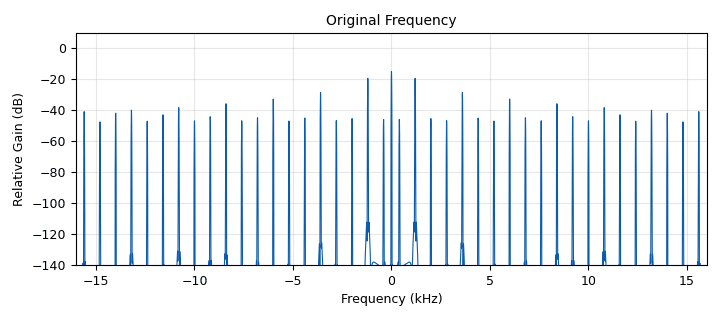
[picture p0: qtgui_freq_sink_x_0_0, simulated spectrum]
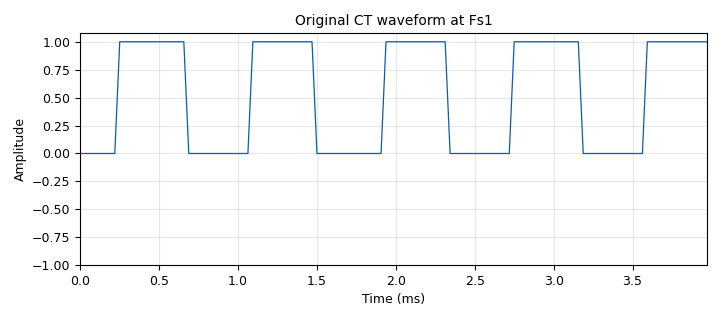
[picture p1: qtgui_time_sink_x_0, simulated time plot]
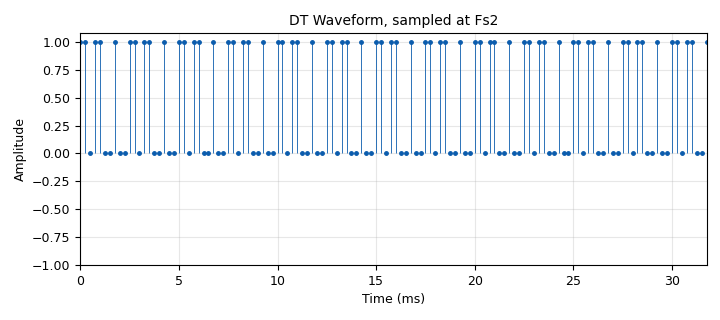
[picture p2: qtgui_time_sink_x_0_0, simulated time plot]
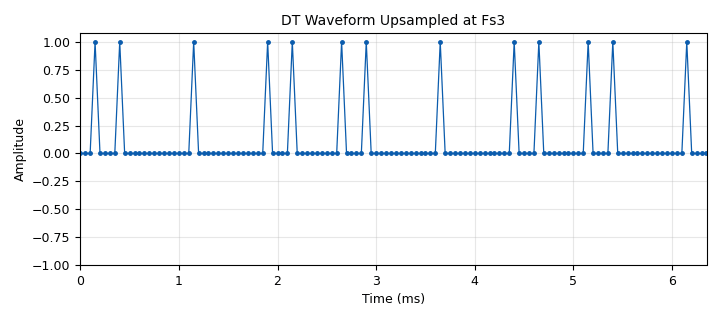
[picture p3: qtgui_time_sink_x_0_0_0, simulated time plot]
options:
  parameters:
    author: rcampello
    generate_options: qt_gui
    id: E1B
    output_language: python
    title: E1B
  states: {}

blocks:
- name: Fs1
  id: variable
  parameters:
    value: samp_rate
  states: {}
- name: Fs2
  id: variable
  parameters:
    value: Fs1 // dsamp
  states: {}
- name: Fs3
  id: variable
  parameters:
    value: Fs2 * usamp
  states: {}
- name: dsamp
  id: variable
  parameters:
    value: '8'
  states: {}
- name: f0
  id: variable_qtgui_range
  parameters:
    gui_hint: 1,1, 1, 1
    orient: Qt.Horizontal
    start: '-5000'
    step: '1'
    stop: '5000'
    value: int(1.2e3)
  states: {}
- name: nofpoints
  id: variable
  parameters:
    value: '128'
  states: {}
- name: offset
  id: variable_qtgui_range
  parameters:
    gui_hint: 0, 1, 1, 1
    orient: Qt.Horizontal
    start: '-1'
    step: '0.01'
    stop: '1'
    value: '0'
  states: {}
- name: samp_rate
  id: variable
  parameters:
    value: '32000'
  states: {}
- name: usamp
  id: variable
  parameters:
    value: '5'
  states: {}
- name: waveform
  id: variable_qtgui_chooser
  parameters:
    gui_hint: 0, 0, 2, 1
    label0: Rectangular
    label1: Cosine
    label2: Triangular
    num_opts: '3'
    option1: '102'
    option2: '104'
    type: int
    value: '103'
    widget: radio_buttons
  states: {}
- name: analog_sig_source_x_0
  id: analog_sig_source_x
  parameters:
    amp: '1'
    freq: f0
    offset: offset
    phase: '0'
    samp_rate: samp_rate
    type: float
    waveform: waveform
  states: {}
- name: blocks_throttle_0
  id: blocks_throttle
  parameters:
    samples_per_second: samp_rate
    type: float
  states: {}
- name: fir_filter_xxx_0
  id: fir_filter_xxx
  parameters:
    decim: dsamp
    taps: '1'
    type: fff
  states: {}
- name: import_0
  id: import
  parameters:
    imports: import  ptfun as pf
  states: {}
- name: interp_fir_filter_xxx_0
  id: interp_fir_filter_xxx
  parameters:
    interp: usamp
    taps: '1'
    type: fff
  states: {}
- name: interp_fir_filter_xxx_0_0
  id: interp_fir_filter_xxx
  parameters:
    interp: '1'
    taps: pf.pampt(usamp, 'sinc', [5, 2.6])
    type: fff
  states: {}
- name: interp_fir_filter_xxx_0_0_0
  id: interp_fir_filter_xxx
  parameters:
    interp: '1'
    taps: pf.pampt(usamp, 'rect', [5, 2.6])
    type: fff
  states: {state: disabled}
- name: qtgui_freq_sink_x_0
  id: qtgui_freq_sink_x
  parameters:
    bw: Fs3
    fc: '0'
    fftsize: 1024 * 4
    gui_hint: 4, 1, 1, 1
    type: float
    wintype: firdes.WIN_BLACKMAN_hARRIS
  states: {}
- name: qtgui_freq_sink_x_0_0
  id: qtgui_freq_sink_x
  parameters:
    bw: Fs1
    fc: '0'
    fftsize: 1024 * 4
    name: '"Original Frequency"'
    type: float
    wintype: firdes.WIN_BLACKMAN_hARRIS
  states: {}
- name: qtgui_time_sink_x_0
  id: qtgui_time_sink_x
  parameters:
    gui_hint: 2, 0, 1, 1
    name: '"Original CT waveform at Fs1"'
    size: nofpoints
    srate: Fs1
    type: float
    yunit: '"x(t)"'
  states: {}
- name: qtgui_time_sink_x_0_0
  id: qtgui_time_sink_x
  parameters:
    gui_hint: 2, 1, 1, 1
    marker1: '0'
    name: '"DT Waveform, sampled at Fs2"'
    size: nofpoints
    srate: Fs2
    stemplot: 'True'
    type: float
    yunit: '"x[n]"'
  states: {}
- name: qtgui_time_sink_x_0_0_0
  id: qtgui_time_sink_x
  parameters:
    gui_hint: 3, 0, 1, 1
    marker1: '0'
    name: '"DT Waveform Upsampled at Fs3"'
    size: nofpoints
    srate: Fs3
    type: float
    yunit: '"x[n/usamp]"'
  states: {}
- name: qtgui_time_sink_x_0_0_0_0
  id: qtgui_time_sink_x
  parameters:
    gui_hint: 3, 1, 1, 1
    name: '"Reconstructed ''CT'' Waveform (at Fs3)"'
    size: nofpoints
    srate: Fs3
    type: float
    yunit: '"x(t)"'
  states: {}

connections:
- [analog_sig_source_x_0, '0', blocks_throttle_0, '0']
- [blocks_throttle_0, '0', fir_filter_xxx_0, '0']
- [blocks_throttle_0, '0', qtgui_freq_sink_x_0_0, '0']
- [blocks_throttle_0, '0', qtgui_time_sink_x_0, '0']
- [fir_filter_xxx_0, '0', interp_fir_filter_xxx_0, '0']
- [fir_filter_xxx_0, '0', qtgui_time_sink_x_0_0, '0']
- [interp_fir_filter_xxx_0, '0', interp_fir_filter_xxx_0_0, '0']
- [interp_fir_filter_xxx_0, '0', interp_fir_filter_xxx_0_0_0, '0']
- [interp_fir_filter_xxx_0, '0', qtgui_time_sink_x_0_0_0, '0']
- [interp_fir_filter_xxx_0_0, '0', qtgui_freq_sink_x_0, '0']
- [interp_fir_filter_xxx_0_0, '0', qtgui_time_sink_x_0_0_0_0, '0']
- [interp_fir_filter_xxx_0_0_0, '0', qtgui_freq_sink_x_0, '0']
- [interp_fir_filter_xxx_0_0_0, '0', qtgui_time_sink_x_0_0_0_0, '0']

metadata:
  file_format: 1
